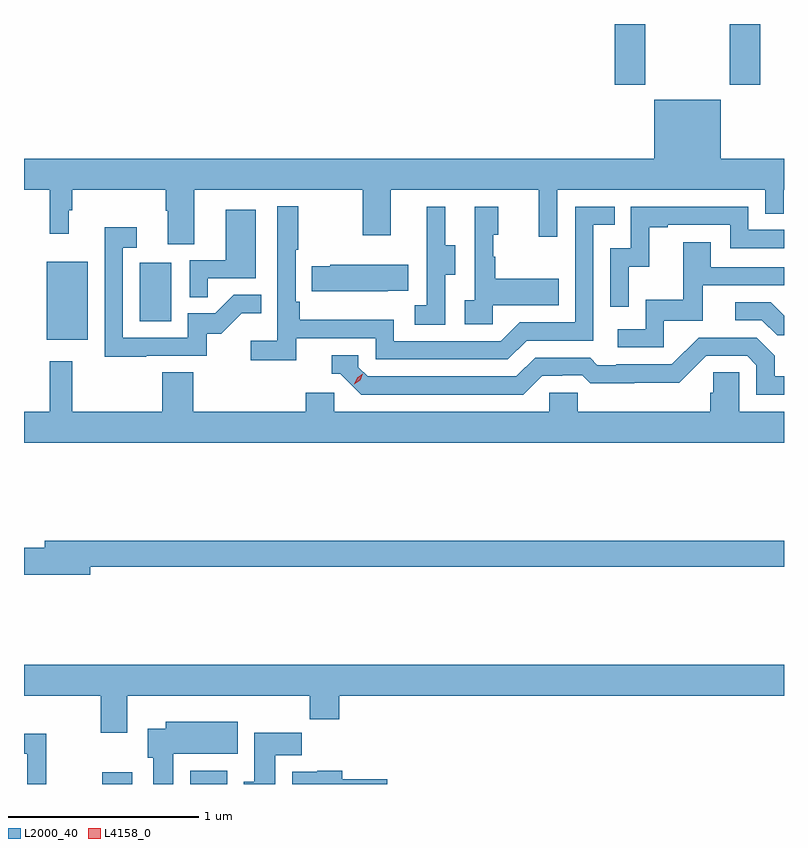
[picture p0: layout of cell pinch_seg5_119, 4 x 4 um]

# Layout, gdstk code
import gdstk
lib = gdstk.Library(unit=1e-6, precision=1e-09)
def R(c, l, rs):  # rectangles x0, y0, x1, y1
    for r in rs: c.add(gdstk.rectangle(r[:2], r[2:], *l))
def P(c, l, *ps):  # polygons
    for p in ps: c.add(gdstk.Polygon(p, *l))
L2000_40 = (2000, 40)
L4158_0 = (4158, 0)

pinch_seg5_119 = lib.new_cell('pinch_seg5_119')
R(pinch_seg5_119, L2000_40, [(1017.824,874.944,1017.982,875.005), (1018.286,874.944,1018.483,875.014), (1017.533,877.283,1017.748,877.693), (1018.022,877.38,1018.186,877.687), (1020.521,878.625,1020.681,878.944), (1021.126,878.625,1021.286,878.944)])
P(pinch_seg5_119, L2000_40, [(1018.309,878.072),(1019.194,878.072),(1019.194,877.833),(1019.341,877.833),(1019.341,878.072),(1020.122,878.072),(1020.122,877.824),(1020.219,877.824),(1020.219,878.072),(1021.314,878.072),(1021.314,877.945),(1021.41,877.945),(1021.41,878.072),(1021.412,878.072),(1021.412,878.236),(1021.078,878.236),(1021.078,878.545),(1020.728,878.545),(1020.728,878.236),(1017.412,878.236),(1017.412,878.072),(1017.548,878.072),(1017.548,877.839),(1017.647,877.839),(1017.647,877.964),(1017.665,877.964),(1017.665,878.072),(1018.157,878.072),(1018.157,877.96),(1018.169,877.96),(1018.169,877.786),(1018.309,877.786)],
  [(1018.844,877.29),(1019.262,877.29),(1019.262,877.179),(1019.959,877.179),(1020.058,877.278),(1020.408,877.278),(1020.408,877.887),(1020.521,877.887),(1020.521,877.983),(1020.312,877.983),(1020.312,877.374),(1020.021,877.374),(1019.922,877.275),(1019.358,877.275),(1019.358,877.387),(1018.862,877.387),(1018.862,877.483),(1018.842,877.483),(1018.842,877.756),(1018.855,877.756),(1018.855,877.984),(1018.746,877.984),(1018.746,877.276),(1018.605,877.276),(1018.605,877.174),(1018.844,877.174)],
  [(1020.594,877.667),(1020.704,877.667),(1020.704,877.875),(1020.799,877.875),(1020.799,877.887),(1021.128,877.887),(1021.128,877.764),(1021.412,877.764),(1021.412,877.86),(1021.224,877.86),(1021.224,877.983),(1020.606,877.983),(1020.606,877.764),(1020.498,877.764),(1020.498,877.455),(1020.594,877.455)],
  [(1019.628,877.624),(1019.683,877.624),(1019.683,877.779),(1019.629,877.779),(1019.629,877.981),(1019.531,877.981),(1019.531,877.767),(1019.532,877.767),(1019.532,877.463),(1019.469,877.463),(1019.469,877.36),(1019.628,877.36)],
  [(1019.88,877.463),(1020.227,877.463),(1020.227,877.603),(1019.893,877.603),(1019.893,877.718),(1019.883,877.718),(1019.883,877.836),(1019.908,877.836),(1019.908,877.981),(1019.784,877.981),(1019.784,877.49),(1019.733,877.49),(1019.733,877.365),(1019.88,877.365)],
  [(1018.379,877.605),(1018.633,877.605),(1018.633,877.966),(1018.475,877.966),(1018.475,877.701),(1018.284,877.701),(1018.284,877.507),(1018.379,877.507)],
  [(1018.055,877.197),(1018.374,877.197),(1018.374,877.314),(1018.45,877.314),(1018.557,877.421),(1018.661,877.421),(1018.661,877.52),(1018.517,877.52),(1018.419,877.422),(1018.275,877.422),(1018.275,877.293),(1017.933,877.293),(1017.933,877.767),(1018.006,877.767),(1018.006,877.873),(1017.837,877.873),(1017.837,877.192),(1018.055,877.192)],
  [(1020.78,877.383),(1020.985,877.383),(1020.985,877.569),(1021.412,877.569),(1021.412,877.665),(1021.027,877.665),(1021.027,877.795),(1020.883,877.795),(1020.883,877.492),(1020.684,877.492),(1020.684,877.338),(1020.537,877.338),(1020.537,877.242),(1020.78,877.242)],
  [(1019.327,877.541),(1019.435,877.541),(1019.435,877.678),(1019.025,877.678),(1019.025,877.668),(1018.927,877.668),(1018.927,877.538),(1019.327,877.538)],
  [(1021.412,877.409),(1021.342,877.479),(1021.155,877.479),(1021.155,877.386),(1021.296,877.386),(1021.376,877.306),(1021.412,877.306)],
  [(1020.139,877.092),(1020.246,877.092),(1020.246,877.095),(1020.349,877.095),(1020.391,877.053),(1020.624,877.053),(1020.624,877.055),(1020.86,877.055),(1021.002,877.197),(1021.218,877.197),(1021.266,877.149),(1021.266,876.993),(1021.412,876.993),(1021.412,877.089),(1021.363,877.089),(1021.363,877.199),(1021.269,877.293),(1020.963,877.293),(1020.822,877.152),(1020.529,877.152),(1020.529,877.149),(1020.43,877.149),(1020.391,877.188),(1020.102,877.188),(1020.003,877.089),(1019.22,877.089),(1019.172,877.137),(1019.172,877.2),(1019.033,877.2),(1019.033,877.104),(1019.076,877.104),(1019.187,876.993),(1020.04,876.993)],
  [(1021.039,877.112),(1021.039,877.002),(1021.025,877.002),(1021.025,876.904),(1020.327,876.904),(1020.327,877.002),(1020.177,877.002),(1020.177,876.904),(1019.046,876.904),(1019.046,877.002),(1018.895,877.002),(1018.895,876.904),(1018.304,876.904),(1018.304,877.112),(1018.139,877.112),(1018.139,876.904),(1017.665,876.904),(1017.665,877.168),(1017.547,877.168),(1017.547,876.904),(1017.412,876.904),(1017.412,876.74),(1021.412,876.74),(1021.412,876.904),(1021.176,876.904),(1021.176,877.112)],
  [(1017.76,876.088),(1021.412,876.088),(1021.412,876.224),(1017.521,876.224),(1017.521,876.188),(1017.412,876.188),(1017.412,876.046),(1017.76,876.046)],
  [(1017.955,875.408),(1018.915,875.408),(1018.915,875.284),(1019.072,875.284),(1019.072,875.408),(1021.412,875.408),(1021.412,875.572),(1017.412,875.572),(1017.412,875.408),(1017.815,875.408),(1017.815,875.214),(1017.955,875.214)],
  [(1018.198,875.102),(1018.537,875.102),(1018.537,875.272),(1018.157,875.272),(1018.157,875.236),(1018.064,875.236),(1018.064,875.082),(1018.091,875.082),(1018.091,874.944),(1018.198,874.944)],
  [(1018.735,875.096),(1018.874,875.096),(1018.874,875.214),(1018.625,875.214),(1018.625,874.956),(1018.568,874.956),(1018.568,874.944),(1018.735,874.944)],
  [(1017.53,875.209),(1017.412,875.209),(1017.412,875.103),(1017.429,875.103),(1017.429,874.944),(1017.53,874.944)],
  [(1019.323,874.968),(1019.087,874.968),(1019.087,875.014),(1018.956,875.014),(1018.956,875.008),(1018.823,875.008),(1018.823,874.944),(1019.323,874.944)])
P(pinch_seg5_119, L4158_0, [(1019.15,877.049),(1019.15,877.05),(1019.165,877.083),(1019.196,877.103),(1019.196,877.103),(1019.196,877.103),(1019.181,877.07),(1019.15,877.049)])

lib.write_gds('pinch_seg5_119.gds')
